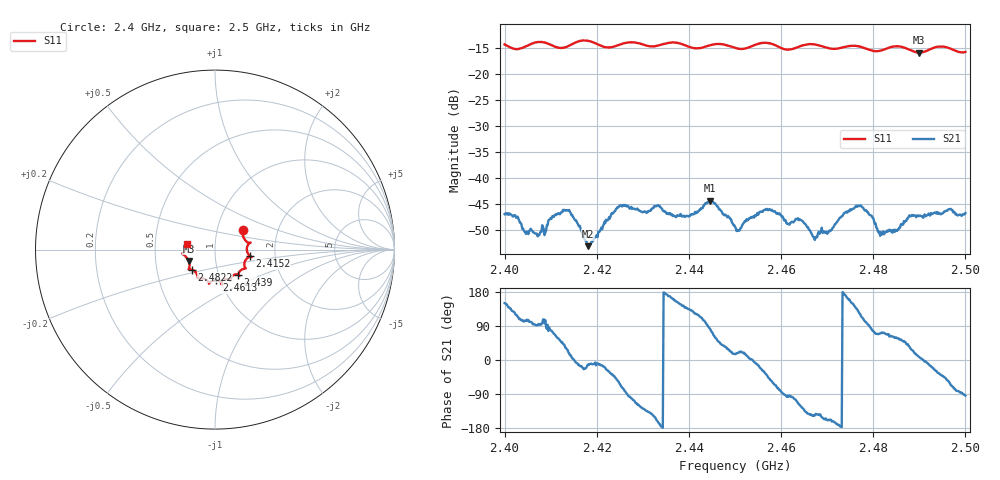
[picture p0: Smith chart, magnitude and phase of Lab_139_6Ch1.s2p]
# Hz S RI R 50
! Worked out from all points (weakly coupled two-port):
!   601 points, 2.4 GHz to 2.5 GHz, reference 50 ohm
!   highest |S21| = -44.34 dB at 2.4445 GHz (marker M1); lowest = -53.1 dB at 2.4182 GHz (marker M2)
!   lowest |S11| = -15.9 dB at 2.49 GHz (marker M3), VSWR 1.38, Z = 36.9 - j4.85 ohm
!   |S11| at or under -10 dB: start of sweep to end of sweep
!   S12 and S22 are empty: the file has one direction only
!   S11 on the Smith chart (normalised r, x): 2.4 GHz: 1.33, +0.31; 2.4152 GHz: 1.48, -0.11; 2.439 GHz: 1.24, -0.36; 2.4613 GHz: 0.96, -0.34; 2.4822 GHz: 0.76, -0.17; 2.5 GHz: 0.72, +0.05
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2.4e9  0.1561 0.1113  -0.00391 0.00226  0 0  0 0
2.407e9  0.1977 0.0381  -0.000105 0.00293  0 0  0 0
2.412833e9  0.1783 -0.00747  0.00367 0.00324  0 0  0 0
2.415167e9  0.1946 -0.0361  0.00401 -8.78e-05  0 0  0 0
2.416667e9  0.2041 -0.0419  0.00301 -0.000864  0 0  0 0
2.418167e9  0.2035 -0.04  0.00218 -0.000443  0 0  0 0
2.424833e9  0.165 -0.0943  0.00272 -0.00459  0 0  0 0
2.433333e9  0.133 -0.1318  -0.00528 -0.00149  0 0  0 0
2.439e9  0.1284 -0.1391  -0.00327 0.00275  0 0  0 0
2.4445e9  0.0849 -0.1675  0.000681 0.00603  0 0  0 0
2.45e9  0.069 -0.1638  0.0033 0.000924  0 0  0 0
2.457e9  0.0397 -0.1943  0.00378 -0.00334  0 0  0 0
2.461333e9  0.00746 -0.1708  -0.00048 -0.00361  0 0  0 0
2.464167e9  -0.0281 -0.1821  -0.00203 -0.00344  0 0  0 0
2.466667e9  -0.0336 -0.1901  -0.0024 -0.00164  0 0  0 0
2.4705e9  -0.048 -0.1691  -0.00292 -0.00115  0 0  0 0
2.476833e9  -0.095 -0.1575  -0.00329 0.00435  0 0  0 0
2.482167e9  -0.1282 -0.1119  0.000945 0.00293  0 0  0 0
2.483333e9  -0.1394 -0.1102  0.00116 0.00288  0 0  0 0
2.49e9  -0.1467 -0.0639  0.00431 0.000551  0 0  0 0
2.494667e9  -0.1819 -0.0222  0.00349 -0.00283  0 0  0 0
2.5e9  -0.1586 0.0336  -0.000335 -0.00461  0 0  0 0
